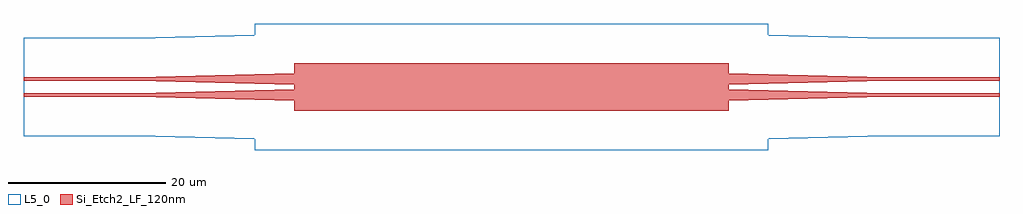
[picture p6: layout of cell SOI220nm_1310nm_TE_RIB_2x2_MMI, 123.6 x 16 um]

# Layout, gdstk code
import gdstk
lib = gdstk.Library(unit=1e-6, precision=1e-09)
def R(c, l, rs):  # rectangles x0, y0, x1, y1
    for r in rs: c.add(gdstk.rectangle(r[:2], r[2:], *l))
def P(c, l, *ps):  # polygons
    for p in ps: c.add(gdstk.Polygon(p, *l))
Si_Etch2_LF_120nm = (3, 0)
L5_0 = (5, 0)

soi220nm_1310nm_te_rib_2 = lib.new_cell('SOI220nm_1310nm_TE_RIB_2x2_MMI')
R(soi220nm_1310nm_te_rib_2, Si_Etch2_LF_120nm, [(-28.2,-3,26.8,3), (-62.5,-1.215,-48.2,-0.815), (46.8,-1.215,61.1,-0.815), (-62.5,0.815,-48.2,1.215), (46.8,0.815,61.1,1.215)])
P(soi220nm_1310nm_te_rib_2, Si_Etch2_LF_120nm, [(-28.2,-1.765),(-48.2,-1.215),(-48.2,-0.815),(-28.2,-0.265)],
  [(-28.2,0.265),(-48.2,0.815),(-48.2,1.215),(-28.2,1.765)],
  [(26.8,-1.765),(26.8,-0.265),(46.8,-0.815),(46.8,-1.215)],
  [(26.8,0.265),(26.8,1.765),(46.8,1.215),(46.8,0.815)])
P(soi220nm_1310nm_te_rib_2, L5_0, [(-33.2,-8),(-33.2,-6.629),(-48.264,-6.215),(-62.5,-6.215),(-62.5,6.215),(-48.264,6.215),(-33.2,6.629),(-33.2,8),(31.8,8),(31.8,6.629),(46.864,6.215),(61.1,6.215),(61.1,-6.215),(46.864,-6.215),(31.8,-6.629),(31.8,-8)])

lib.write_gds('SOI220nm_1310nm_TE_RIB_2x2_MMI.gds')
